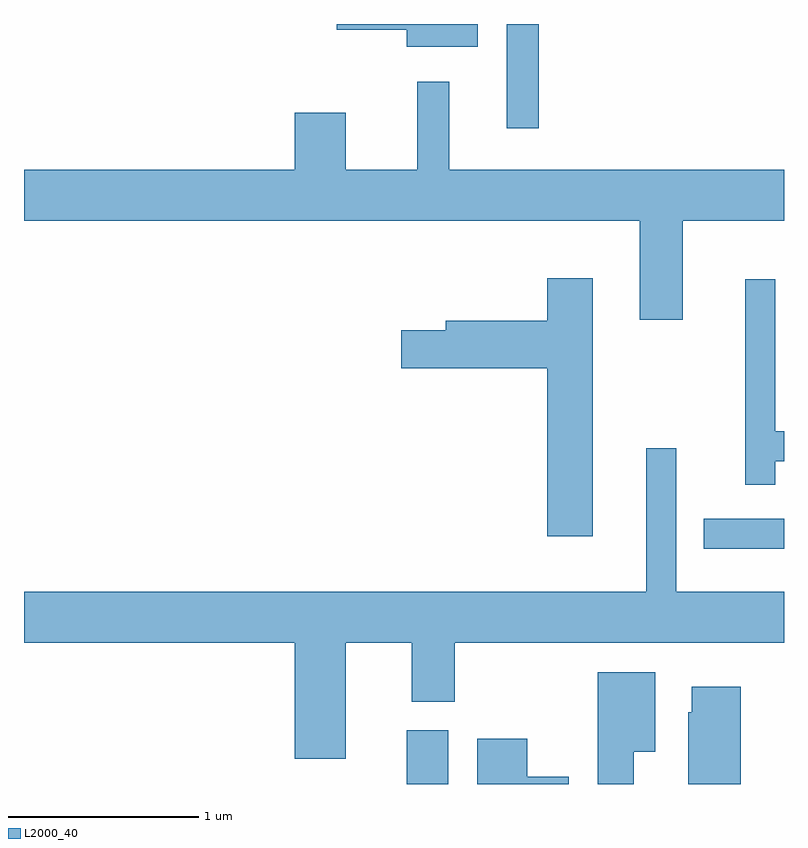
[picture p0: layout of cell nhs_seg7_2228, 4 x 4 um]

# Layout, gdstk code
import gdstk
lib = gdstk.Library(unit=1e-6, precision=1e-09)
def R(c, l, rs):  # rectangles x0, y0, x1, y1
    for r in rs: c.add(gdstk.rectangle(r[:2], r[2:], *l))
def P(c, l, *ps):  # polygons
    for p in ps: c.add(gdstk.Polygon(p, *l))
L2000_40 = (2000, 40)

nhs_seg7_2228 = lib.new_cell('nhs_seg7_2228')
R(nhs_seg7_2228, L2000_40, [(255.626,1700.252,255.844,1700.534), (257.188,1701.491,257.611,1701.649), (256.151,1703.703,256.319,1704.252)])
P(nhs_seg7_2228, L2000_40, [(255.999,1704.252),(255.256,1704.252),(255.256,1704.221),(255.626,1704.221),(255.626,1704.131),(255.999,1704.131)],
  [(257.079,1703.216),(257.611,1703.216),(257.611,1703.484),(255.849,1703.484),(255.849,1703.948),(255.681,1703.948),(255.681,1703.484),(255.304,1703.484),(255.304,1703.784),(255.036,1703.784),(255.036,1703.484),(253.611,1703.484),(253.611,1703.216),(256.851,1703.216),(256.851,1702.696),(257.079,1702.696)],
  [(256.604,1702.914),(256.366,1702.914),(256.366,1702.689),(255.831,1702.689),(255.831,1702.639),(255.596,1702.639),(255.596,1702.441),(256.366,1702.441),(256.366,1701.556),(256.604,1701.556)],
  [(257.564,1701.951),(257.611,1701.951),(257.611,1702.109),(257.564,1702.109),(257.564,1702.908),(257.406,1702.908),(257.406,1701.828),(257.564,1701.828)],
  [(255.304,1700.996),(255.651,1700.996),(255.651,1700.686),(255.879,1700.686),(255.879,1700.996),(257.611,1700.996),(257.611,1701.264),(257.044,1701.264),(257.044,1702.018),(256.886,1702.018),(256.886,1701.264),(253.611,1701.264),(253.611,1700.996),(255.036,1700.996),(255.036,1700.386),(255.304,1700.386)],
  [(256.819,1700.421),(256.934,1700.421),(256.934,1700.839),(256.631,1700.839),(256.631,1700.252),(256.819,1700.252)],
  [(257.384,1700.764),(257.126,1700.764),(257.126,1700.629),(257.106,1700.629),(257.106,1700.252),(257.384,1700.252)],
  [(256.479,1700.289),(256.259,1700.289),(256.259,1700.489),(255.996,1700.489),(255.996,1700.252),(256.479,1700.252)])

lib.write_gds('nhs_seg7_2228.gds')
